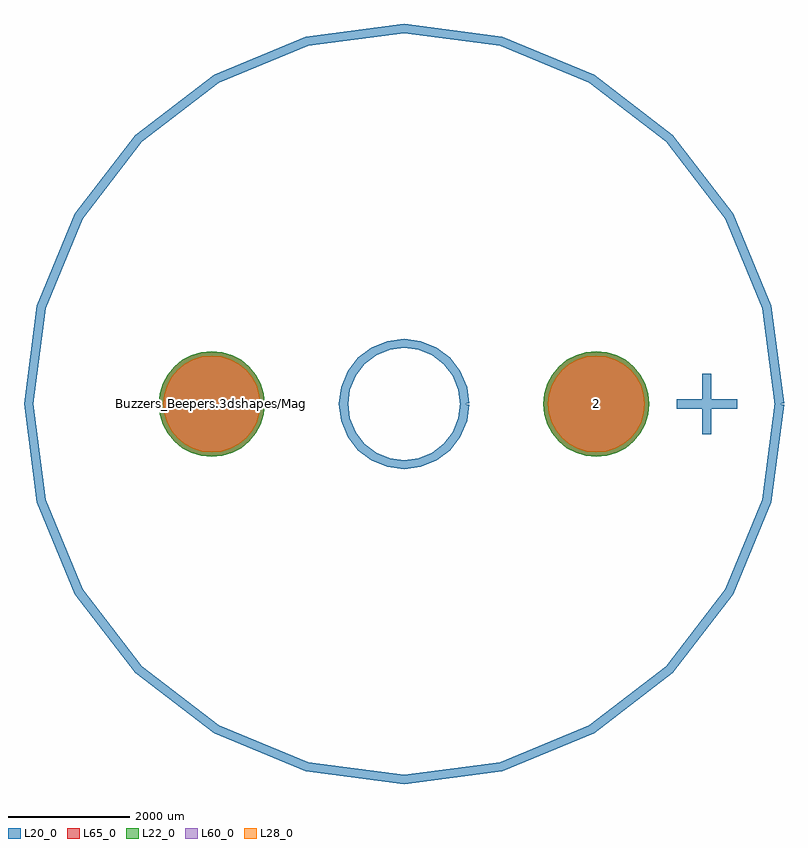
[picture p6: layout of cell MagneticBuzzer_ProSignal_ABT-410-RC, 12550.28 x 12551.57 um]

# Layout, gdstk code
import gdstk
lib = gdstk.Library(unit=1e-6, precision=1e-09)
def P(c, l, *ps):  # polygons
    for p in ps: c.add(gdstk.Polygon(p, *l))
L20_0 = (20, 0)
L22_0 = (22, 0)
L28_0 = (28, 0)
L60_0 = (60, 0)
L65_0 = (65, 0)

magneticbuzzer_prosignal = lib.new_cell('MagneticBuzzer_ProSignal_ABT-410-RC')
P(magneticbuzzer_prosignal, L22_0, [(7225.1,0),(7208.285,170.724),(7158.487,334.886),(7077.619,486.18),(6968.789,618.789),(6836.18,727.619),(6684.886,808.487),(6520.724,858.285),(6350,875.1),(6179.276,858.285),(6015.114,808.487),(5863.82,727.619),(5731.211,618.789),(5622.381,486.18),(5541.513,334.886),(5491.715,170.724),(5474.9,0),(5491.715,-170.724),(5541.513,-334.886),(5622.381,-486.18),(5731.211,-618.789),(5863.82,-727.619),(6015.114,-808.487),(6179.276,-858.285),(6350,-875.1),(6520.724,-858.285),(6684.886,-808.487),(6836.18,-727.619),(6968.789,-618.789),(7077.619,-486.18),(7158.487,-334.886),(7208.285,-170.724)],
  [(875.1,0),(858.285,170.724),(808.487,334.886),(727.619,486.18),(618.789,618.789),(486.18,727.619),(334.886,808.487),(170.724,858.285),(0,875.1),(-170.724,858.285),(-334.886,808.487),(-486.18,727.619),(-618.789,618.789),(-727.619,486.18),(-808.487,334.886),(-858.285,170.724),(-875.1,0),(-858.285,-170.724),(-808.487,-334.886),(-727.619,-486.18),(-618.789,-618.789),(-486.18,-727.619),(-334.886,-808.487),(-170.724,-858.285),(0,-875.1),(170.724,-858.285),(334.886,-808.487),(486.18,-727.619),(618.789,-618.789),(727.619,-486.18),(808.487,-334.886),(858.285,-170.724)])
P(magneticbuzzer_prosignal, L28_0, [(7150.1,0),(7134.726,156.092),(7089.196,306.185),(7015.259,444.512),(6915.756,565.756),(6794.512,665.259),(6656.185,739.196),(6506.092,784.726),(6350,800.1),(6193.908,784.726),(6043.815,739.196),(5905.488,665.259),(5784.244,565.756),(5684.741,444.512),(5610.804,306.185),(5565.274,156.092),(5549.9,0),(5565.274,-156.092),(5610.804,-306.185),(5684.741,-444.512),(5784.244,-565.756),(5905.488,-665.259),(6043.815,-739.196),(6193.908,-784.726),(6350,-800.1),(6506.092,-784.726),(6656.185,-739.196),(6794.512,-665.259),(6915.756,-565.756),(7015.259,-444.512),(7089.196,-306.185),(7134.726,-156.092)],
  [(800.1,0),(784.726,156.092),(739.196,306.185),(665.259,444.512),(565.756,565.756),(444.512,665.259),(306.185,739.196),(156.092,784.726),(0,800.1),(-156.092,784.726),(-306.185,739.196),(-444.512,665.259),(-565.756,565.756),(-665.259,444.512),(-739.196,306.185),(-784.726,156.092),(-800.1,0),(-784.726,-156.092),(-739.196,-306.185),(-665.259,-444.512),(-565.756,-565.756),(-444.512,-665.259),(-306.185,-739.196),(-156.092,-784.726),(0,-800.1),(156.092,-784.726),(306.185,-739.196),(444.512,-665.259),(565.756,-565.756),(665.259,-444.512),(739.196,-306.185),(784.726,-156.092)])
P(magneticbuzzer_prosignal, L60_0, [(7150.1,0),(7134.726,156.092),(7089.196,306.185),(7015.259,444.512),(6915.756,565.756),(6794.512,665.259),(6656.185,739.196),(6506.092,784.726),(6350,800.1),(6193.908,784.726),(6043.815,739.196),(5905.488,665.259),(5784.244,565.756),(5684.741,444.512),(5610.804,306.185),(5565.274,156.092),(5549.9,0),(5565.274,-156.092),(5610.804,-306.185),(5684.741,-444.512),(5784.244,-565.756),(5905.488,-665.259),(6043.815,-739.196),(6193.908,-784.726),(6350,-800.1),(6506.092,-784.726),(6656.185,-739.196),(6794.512,-665.259),(6915.756,-565.756),(7015.259,-444.512),(7089.196,-306.185),(7134.726,-156.092)],
  [(800.1,0),(784.726,156.092),(739.196,306.185),(665.259,444.512),(565.756,565.756),(444.512,665.259),(306.185,739.196),(156.092,784.726),(0,800.1),(-156.092,784.726),(-306.185,739.196),(-444.512,665.259),(-565.756,565.756),(-665.259,444.512),(-739.196,306.185),(-784.726,156.092),(-800.1,0),(-784.726,-156.092),(-739.196,-306.185),(-665.259,-444.512),(-565.756,-565.756),(-444.512,-665.259),(-306.185,-739.196),(-156.092,-784.726),(0,-800.1),(156.092,-784.726),(306.185,-739.196),(444.512,-665.259),(565.756,-565.756),(665.259,-444.512),(739.196,-306.185),(784.726,-156.092)])
P(magneticbuzzer_prosignal, L65_0, [(7225.1,0),(7208.285,170.724),(7158.487,334.886),(7077.619,486.18),(6968.789,618.789),(6836.18,727.619),(6684.886,808.487),(6520.724,858.285),(6350,875.1),(6179.276,858.285),(6015.114,808.487),(5863.82,727.619),(5731.211,618.789),(5622.381,486.18),(5541.513,334.886),(5491.715,170.724),(5474.9,0),(5491.715,-170.724),(5541.513,-334.886),(5622.381,-486.18),(5731.211,-618.789),(5863.82,-727.619),(6015.114,-808.487),(6179.276,-858.285),(6350,-875.1),(6520.724,-858.285),(6684.886,-808.487),(6836.18,-727.619),(6968.789,-618.789),(7077.619,-486.18),(7158.487,-334.886),(7208.285,-170.724)],
  [(875.1,0),(858.285,170.724),(808.487,334.886),(727.619,486.18),(618.789,618.789),(486.18,727.619),(334.886,808.487),(170.724,858.285),(0,875.1),(-170.724,858.285),(-334.886,808.487),(-486.18,727.619),(-618.789,618.789),(-727.619,486.18),(-808.487,334.886),(-858.285,170.724),(-875.1,0),(-858.285,-170.724),(-808.487,-334.886),(-727.619,-486.18),(-618.789,-618.789),(-486.18,-727.619),(-334.886,-808.487),(-170.724,-858.285),(0,-875.1),(170.724,-858.285),(334.886,-808.487),(486.18,-727.619),(618.789,-618.789),(727.619,-486.18),(808.487,-334.886),(858.285,-170.724)])
magneticbuzzer_prosignal.add(gdstk.FlexPath([(9375.14,0),(9163.875,1604.714),(8544.479,3100.07),(7559.161,4384.161),(6275.07,5369.479),(4779.714,5988.875),(3175,6200.14),(1570.286,5988.875),(74.93,5369.479),(-1209.161,4384.161),(-2194.479,3100.07),(-2813.875,1604.714),(-3025.14,0),(-2813.875,-1604.714),(-2194.479,-3100.07),(-1209.161,-4384.161),(74.93,-5369.479),(1570.286,-5988.875),(3175,-6200.14),(4779.714,-5988.875),(6275.07,-5369.479),(7559.161,-4384.161),(8544.479,-3100.07),(9163.875,-1604.714),(9375.14,0)], 149.998, ends="flush", simple_path=True, layer=20, datatype=0))  # L20_0
magneticbuzzer_prosignal.add(gdstk.FlexPath([(4175.76,0),(4141.66,259.016),(4041.684,500.38),(3882.644,707.644),(3675.38,866.684),(3434.016,966.66),(3175,1000.76),(2915.984,966.66),(2674.62,866.684),(2467.356,707.644),(2308.316,500.38),(2208.34,259.016),(2174.24,0),(2208.34,-259.016),(2308.316,-500.38),(2467.356,-707.644),(2674.62,-866.684),(2915.984,-966.66),(3175,-1000.76),(3434.016,-966.66),(3675.38,-866.684),(3882.644,-707.644),(4041.684,-500.38),(4141.66,-259.016),(4175.76,0)], 149.998, ends="flush", simple_path=True, layer=20, datatype=0))  # L20_0
magneticbuzzer_prosignal.add(gdstk.FlexPath([(7675.88,0),(8674.1,0)], 149.998, ends="flush", simple_path=True, layer=20, datatype=0))  # L20_0
magneticbuzzer_prosignal.add(gdstk.FlexPath([(8176.26,500.38),(8176.26,-500.38)], 149.998, ends="flush", simple_path=True, layer=20, datatype=0))  # L20_0
magneticbuzzer_prosignal.add(gdstk.Label('Buzzers_Beepers.3dshapes/MagneticBuzzer_ProSignal_ABT-410-RC.wrl', (0,0), layer=12, texttype=0))
magneticbuzzer_prosignal.add(gdstk.Label('2', (6350,0), layer=28, texttype=0))
magneticbuzzer_prosignal.add(gdstk.Label('1', (0,0), layer=28, texttype=0))
magneticbuzzer_prosignal.add(gdstk.Label('+', (10675.62,0), layer=9, texttype=0))
magneticbuzzer_prosignal.add(gdstk.Label('type', (2174.24,-8001), layer=9, texttype=0))
magneticbuzzer_prosignal.add(gdstk.Label('devicename', (3175,8001), layer=9, texttype=0))

lib.write_gds('MagneticBuzzer_ProSignal_ABT-410-RC.gds')
